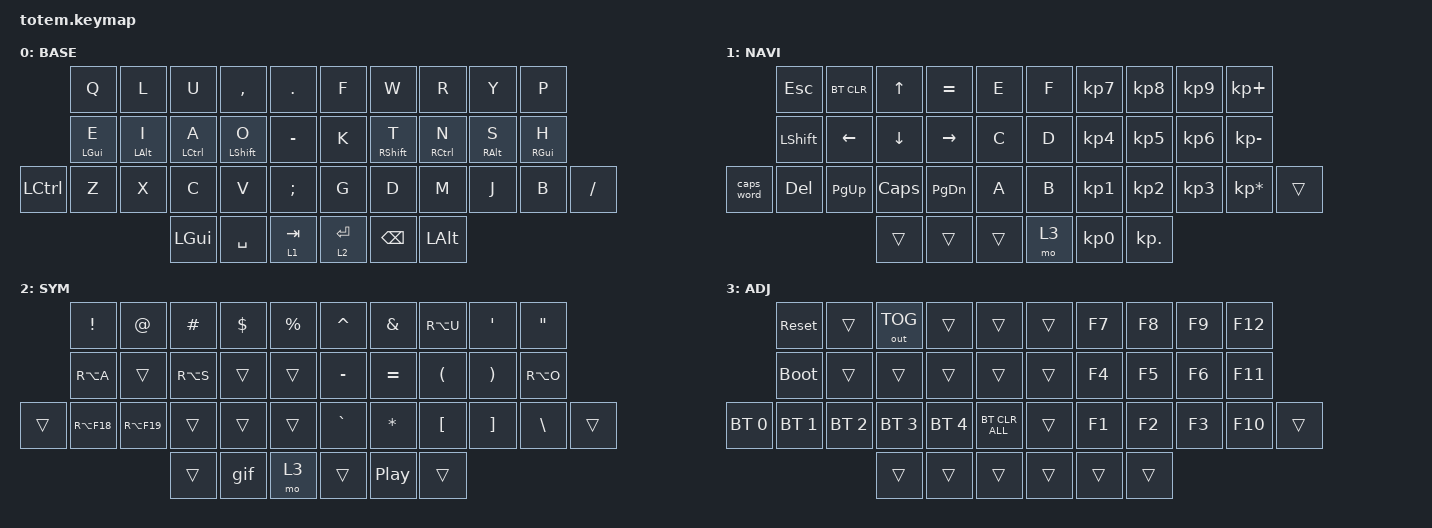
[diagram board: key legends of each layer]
//
//                                                        ▀▀▀▀▀     ▀▀▀▀▀          ▀▀█▀▀
//                                                        ▄▀▀▀▄  ▄  ▄▀▀▀▄  ▄  ▄▀▀▀▄  █  ▄▀▀▀▄
//                                                        █   █  █  █   █  █  █   █  █  █   █
//                                                         ▀▀▀   █   ▀▀▀   █   ▀▀▀   ▀   ▀▀▀
//                                                               █      ▄▄▄█▄▄▄    █   █  
//                                                               ▀      █  █  █     █▄█
//                                                             ▀▀▀▀▀    █  █  █      ▀
//                                                                      ▀  ▀  ▀
//
// ▄▄▄▄▄▄▄▄▄▄▄▄▄▄▄▄▄▄▄▄▄▄▄▄▄▄▄▄▄▄▄▄▄▄▄▄▄▄▄▄▄▄▄▄▄▄▄▄▄▄▄▄▄▄▄▄▄▄▄▄▄▄▄▄▄▄▄▄▄▄▄▄▄▄▄▄▄▄▄▄▄▄▄▄▄▄▄▄▄▄▄▄▄▄▄▄▄▄▄▄▄▄▄▄▄▄▄▄▄▄▄▄▄▄▄▄▄▄▄▄▄▄▄▄▄▄▄▄▄▄▄▄▄▄▄▄▄▄▄▄▄▄▄▄▄▄▄▄▄

#include <behaviors.dtsi>
#include <dt-bindings/zmk/bt.h>
#include <dt-bindings/zmk/keys.h>
#include <dt-bindings/zmk/outputs.h>

#define BASE 0
#define NAV  1
#define SYM  2
#define ADJ  3

&mt {
    quick-tap-ms = <100>;
    global-quick-tap;
    flavor = "tap-preferred";
    tapping-term-ms = <170>;
};

/ {
    combos {
        compatible = "zmk,combos";

        combo_esc {
            timeout-ms = <50>;
            key-positions = <0 1>;
            bindings = <&kp ESC>;
        };

        LT_PAREN {
            bindings = <&kp LEFT_PARENTHESIS>;
            key-positions = <13 12>;
        };

        LT_BRACE {
            bindings = <&kp LEFT_BRACE>;
            key-positions = <2 3>;
        };

        LT_BRACKET {
            bindings = <&kp LEFT_BRACKET>;
            key-positions = <23 24>;
        };

        RT_PAREN {
            bindings = <&kp RIGHT_PARENTHESIS>;
            key-positions = <16 17>;
        };

        RT_BRACE {
            bindings = <&kp RIGHT_BRACE>;
            key-positions = <6 7>;
        };

        RT_BRACKET {
            bindings = <&kp RIGHT_BRACKET>;
            key-positions = <27 28>;
        };
    };

    macros {
        gif: gif {
            label = "giphy";
            compatible = "zmk,behavior-macro";
            #binding-cells = <0>;
            bindings =
                <&macro_press>,
                <&kp LSHFT>,
                <&macro_tap>,
                <&kp N2>,
                <&macro_release>,
                <&kp LSHFT>,
                <&macro_tap>,
                <&kp G &kp I &kp F>;
        };
    };

    keymap {
        compatible = "zmk,keymap";

        // ▄▄▄▄▄▄▄▄▄▄▄▄▄▄▄▄▄▄▄▄▄▄▄▄▄▄▄▄▄▄▄▄▄▄▄▄▄▄▄▄▄▄▄▄▄▄▄▄▄▄▄▄▄▄▄▄▄▄▄▄▄▄▄▄▄▄▄▄▄▄▄▄▄▄▄▄▄▄▄▄▄▄▄▄▄▄▄▄▄▄▄▄▄▄▄▄▄▄▄▄▄▄▄▄▄▄▄▄▄▄▄▄▄▄▄▄▄▄▄▄▄▄▄▄▄▄▄▄▄▄▄▄▄▄▄▄▄▄▄▄▄▄▄▄▄▄▄▄▄

        base_layer {
            // ┏━━━━━━━━━━━━━━━━━━━━━━━━━━━━━━━━━━━━━━━┓

            label = "BASE";

            // ┗━━━━━━━━━━━━━━━━━━━━━━━━━━━━━━━━━━━━━━━┛
            //             ┏━━━━━━━━━━━┳━━━━━━━━━━━┳━━━━━━━━━━━┳━━━━━━━━━━━┳━━━━━━━━━━━┓   ┏━━━━━━━━━━━┳━━━━━━━━━━━┳━━━━━━━━━━━┳━━━━━━━━━━━┳━━━━━━━━━━━┓
            //             ┃     Q     ┃     W     ┃     F     ┃     P     ┃     G     ┃   ┃     J     ┃     L     ┃     U     ┃     Y     ┃     ;     ┃
            //             ┣━━━━━━━━━━━╋━━━━━━━━━━━╋━━━━━━━━━━━╋━━━━━━━━━━━╋━━━━━━━━━━━┫   ┣━━━━━━━━━━━╋━━━━━━━━━━━╋━━━━━━━━━━━╋━━━━━━━━━━━╋━━━━━━━━━━━┫
            //             ┃     A     ┃     R     ┃     S     ┃     T     ┃     D     ┃   ┃     H     ┃     N     ┃     E     ┃     I     ┃     O     ┃
            // ┏━━━━━━━━━━━╋━━━━━━━━━━━╋━━━━━━━━━━━╋━━━━━━━━━━━╋━━━━━━━━━━━╋━━━━━━━━━━━┫   ┣━━━━━━━━━━━╋━━━━━━━━━━━╋━━━━━━━━━━━╋━━━━━━━━━━━╋━━━━━━━━━━━╋━━━━━━━━━━━┓
            // ┃           ┃     Z     ┃     X     ┃     C     ┃     V     ┃     B     ┃   ┃     K     ┃     M     ┃     ,     ┃     .     ┃     /     ┃           ┃
            // ┗━━━━━━━━━━━┻━━━━━━━━━━━┻━━━━━━━━━━━╋━━━━━━━━━━━╋━━━━━━━━━━━╋━━━━━━━━━━━┫   ┣━━━━━━━━━━━╋━━━━━━━━━━━╋━━━━━━━━━━━╋━━━━━━━━━━━┻━━━━━━━━━━━┻━━━━━━━━━━━┛
            //                                     ┃           ┃    TAB    ┃    SPC    ┃   ┃   ENTER   ┃   BSPC    ┃           ┃
            //                                     ┗━━━━━━━━━━━┻━━━━━━━━━━━┻━━━━━━━━━━━┛   ┗━━━━━━━━━━━┻━━━━━━━━━━━┻━━━━━━━━━━━┛

            bindings = <
                  &kp Q       &kp L       &kp U         &kp COMMA    &kp PERIOD       &kp F      &kp W        &kp R         &kp Y       &kp P
                  &mt LGUI E  &mt LALT I  &mt LCTRL A   &mt LSHFT O  &kp MINUS        &kp K      &mt RSHFT T  &mt RCTRL N   &mt RALT S  &mt RGUI H
&kp LEFT_CONTROL  &kp Z       &kp X       &kp C         &kp V        &kp SEMICOLON    &kp G      &kp D        &kp M         &kp J       &kp B       &kp SLASH
                                          &kp LEFT_GUI  &kp SPACE    &lt 1 TAB        &lt 2 RET  &kp BSPC     &kp LEFT_ALT
            >;
        };

        // ▄▄▄▄▄▄▄▄▄▄▄▄▄▄▄▄▄▄▄▄▄▄▄▄▄▄▄▄▄▄▄▄▄▄▄▄▄▄▄▄▄▄▄▄▄▄▄▄▄▄▄▄▄▄▄▄▄▄▄▄▄▄▄▄▄▄▄▄▄▄▄▄▄▄▄▄▄▄▄▄▄▄▄▄▄▄▄▄▄▄▄▄▄▄▄▄▄▄▄▄▄▄▄▄▄▄▄▄▄▄▄▄▄▄▄▄▄▄▄▄▄▄▄▄▄▄▄▄▄▄▄▄▄▄▄▄▄▄▄▄▄▄▄▄▄▄▄▄▄

        nav_layer {
            // ┏━━━━━━━━━━━━━━━━━━━━━━━━━━━━━━━━━━━━━━━┓

            label = "NAVI";

            // ┗━━━━━━━━━━━━━━━━━━━━━━━━━━━━━━━━━━━━━━━┛
            //             ┏━━━━━━━━━━━┳━━━━━━━━━━━┳━━━━━━━━━━━┳━━━━━━━━━━━┳━━━━━━━━━━━┓   ┏━━━━━━━━━━━┳━━━━━━━━━━━┳━━━━━━━━━━━┳━━━━━━━━━━━┳━━━━━━━━━━━┓
            //             ┃           ┃           ┃     UP    ┃           ┃     {     ┃   ┃     }     ┃     7     ┃     8     ┃     9     ┃     +     ┃
            //             ┣━━━━━━━━━━━╋━━━━━━━━━━━╋━━━━━━━━━━━╋━━━━━━━━━━━╋━━━━━━━━━━━┫   ┣━━━━━━━━━━━╋━━━━━━━━━━━╋━━━━━━━━━━━╋━━━━━━━━━━━╋━━━━━━━━━━━┫
            //             ┃   SHIFT   ┃   LEFT    ┃    DOWN   ┃   RIGHT   ┃     [     ┃   ┃     ]     ┃     4     ┃     5     ┃     6     ┃     -     ┃
            // ┏━━━━━━━━━━━╋━━━━━━━━━━━╋━━━━━━━━━━━╋━━━━━━━━━━━╋━━━━━━━━━━━╋━━━━━━━━━━━┫   ┣━━━━━━━━━━━╋━━━━━━━━━━━╋━━━━━━━━━━━╋━━━━━━━━━━━╋━━━━━━━━━━━╋━━━━━━━━━━━┓
            // ┃           ┃           ┃   P UP    ┃  C LOCK   ┃  P DOWN   ┃     (     ┃   ┃     )     ┃     1     ┃     2     ┃     3     ┃     *     ┃           ┃
            // ┗━━━━━━━━━━━┻━━━━━━━━━━━┻━━━━━━━━━━━╋━━━━━━━━━━━╋━━━━━━━━━━━╋━━━━━━━━━━━┫   ┣━━━━━━━━━━━╋━━━━━━━━━━━╋━━━━━━━━━━━╋━━━━━━━━━━━┻━━━━━━━━━━━┻━━━━━━━━━━━┛
            //                                     ┃           ┃    TAB    ┃    SPC    ┃   ┃    DEL    ┃     0     ┃           ┃
            //                                     ┗━━━━━━━━━━━┻━━━━━━━━━━━┻━━━━━━━━━━━┛   ┗━━━━━━━━━━━┻━━━━━━━━━━━┻━━━━━━━━━━━┛

            bindings = <
            &kp ESC    &bt BT_CLR  &kp UP    &kp EQUAL  &kp E     &kp F  &kp KP_NUMBER_7  &kp KP_NUMBER_8  &kp KP_N9        &kp KP_PLUS
            &kp LSHFT  &kp LEFT    &kp DOWN  &kp RIGHT  &kp C     &kp D  &kp KP_NUMBER_4  &kp KP_NUMBER_5  &kp KP_NUMBER_6  &kp KP_MINUS
&caps_word  &kp DEL    &kp PG_UP   &kp CAPS  &kp PG_DN  &kp A     &kp B  &kp KP_N1        &kp KP_N2        &kp KP_NUMBER_3  &kp KP_MULTIPLY  &trans
                                   &trans    &trans     &trans    &mo 3  &kp KP_N0        &kp KP_DOT
            >;
        };

        // ▄▄▄▄▄▄▄▄▄▄▄▄▄▄▄▄▄▄▄▄▄▄▄▄▄▄▄▄▄▄▄▄▄▄▄▄▄▄▄▄▄▄▄▄▄▄▄▄▄▄▄▄▄▄▄▄▄▄▄▄▄▄▄▄▄▄▄▄▄▄▄▄▄▄▄▄▄▄▄▄▄▄▄▄▄▄▄▄▄▄▄▄▄▄▄▄▄▄▄▄▄▄▄▄▄▄▄▄▄▄▄▄▄▄▄▄▄▄▄▄▄▄▄▄▄▄▄▄▄▄▄▄▄▄▄▄▄▄▄▄▄▄▄▄▄▄▄▄▄

        sim_layer {
            // ┏━━━━━━━━━━━━━━━━━━━━━━━━━━━━━━━━━━━━━━━┓

            label = "SYM";

            // ┗━━━━━━━━━━━━━━━━━━━━━━━━━━━━━━━━━━━━━━━┛
            //             ┏━━━━━━━━━━━┳━━━━━━━━━━━┳━━━━━━━━━━━┳━━━━━━━━━━━┳━━━━━━━━━━━┓   ┏━━━━━━━━━━━┳━━━━━━━━━━━┳━━━━━━━━━━━┳━━━━━━━━━━━┳━━━━━━━━━━━┓
            //             ┃     !     ┃     @     ┃     #     ┃     $     ┃     %     ┃   ┃     ˆ     ┃     &     ┃     Ü     ┃     '     ┃     "     ┃
            //             ┣━━━━━━━━━━━╋━━━━━━━━━━━╋━━━━━━━━━━━╋━━━━━━━━━━━╋━━━━━━━━━━━┫   ┣━━━━━━━━━━━╋━━━━━━━━━━━╋━━━━━━━━━━━╋━━━━━━━━━━━╋━━━━━━━━━━━┫
            //             ┃     Ä     ┃           ┃    SZ     ┃           ┃           ┃   ┃   MUTE    ┃   YEN     ┃   EURO    ┃  POUND    ┃     Ö     ┃
            // ┏━━━━━━━━━━━╋━━━━━━━━━━━╋━━━━━━━━━━━╋━━━━━━━━━━━╋━━━━━━━━━━━╋━━━━━━━━━━━┫   ┣━━━━━━━━━━━╋━━━━━━━━━━━╋━━━━━━━━━━━╋━━━━━━━━━━━╋━━━━━━━━━━━╋━━━━━━━━━━━┓
            // ┃           ┃  EMAIL1   ┃  EMAIL2   ┃           ┃           ┃           ┃   ┃   VOL-    ┃   VOL+    ┃   LAST    ┃   NEXT    ┃     \     ┃           ┃
            // ┗━━━━━━━━━━━┻━━━━━━━━━━━┻━━━━━━━━━━━╋━━━━━━━━━━━╋━━━━━━━━━━━╋━━━━━━━━━━━┫   ┣━━━━━━━━━━━╋━━━━━━━━━━━╋━━━━━━━━━━━╋━━━━━━━━━━━┻━━━━━━━━━━━┻━━━━━━━━━━━┛
            //                                     ┃           ┃    GIF    ┃    ADJ    ┃   ┃           ┃           ┃           ┃
            //                                     ┗━━━━━━━━━━━┻━━━━━━━━━━━┻━━━━━━━━━━━┛   ┗━━━━━━━━━━━┻━━━━━━━━━━━┻━━━━━━━━━━━┛

            bindings = <
        &kp EXCL     &kp AT       &kp HASH   &kp DLLR  &kp PRCNT    &kp CARET  &kp AMPS      &kp RA(U)             &kp SQT                &kp DQT
        &kp RA(A)    &trans       &kp RA(S)  &trans    &trans       &kp MINUS  &kp EQUAL     &kp LEFT_PARENTHESIS  &kp RIGHT_PARENTHESIS  &kp RA(O)
&trans  &kp RA(F18)  &kp RA(F19)  &trans     &trans    &trans       &kp GRAVE  &kp ASTERISK  &kp LEFT_BRACKET      &kp RIGHT_BRACKET      &kp BSLH   &trans
                                  &trans     &gif      &mo 3        &trans     &kp C_PP      &trans
            >;
        };

        // ▄▄▄▄▄▄▄▄▄▄▄▄▄▄▄▄▄▄▄▄▄▄▄▄▄▄▄▄▄▄▄▄▄▄▄▄▄▄▄▄▄▄▄▄▄▄▄▄▄▄▄▄▄▄▄▄▄▄▄▄▄▄▄▄▄▄▄▄▄▄▄▄▄▄▄▄▄▄▄▄▄▄▄▄▄▄▄▄▄▄▄▄▄▄▄▄▄▄▄▄▄▄▄▄▄▄▄▄▄▄▄▄▄▄▄▄▄▄▄▄▄▄▄▄▄▄▄▄▄▄▄▄▄▄▄▄▄▄▄▄▄▄▄▄▄▄▄▄▄

        adjust_layer {
            // ┏━━━━━━━━━━━━━━━━━━━━━━━━━━━━━━━━━━━━━━━┓

            label = "ADJ";

            // ┗━━━━━━━━━━━━━━━━━━━━━━━━━━━━━━━━━━━━━━━┛
            //             ┏━━━━━━━━━━━┳━━━━━━━━━━━┳━━━━━━━━━━━┳━━━━━━━━━━━┳━━━━━━━━━━━┓   ┏━━━━━━━━━━━┳━━━━━━━━━━━┳━━━━━━━━━━━┳━━━━━━━━━━━┳━━━━━━━━━━━┓
            //             ┃   RESET   ┃ BT CLEAR  ┃  OUT TOG  ┃           ┃           ┃   ┃           ┃    F7     ┃    F8     ┃    F9     ┃    F12    ┃
            //             ┣━━━━━━━━━━━╋━━━━━━━━━━━╋━━━━━━━━━━━╋━━━━━━━━━━━╋━━━━━━━━━━━┫   ┣━━━━━━━━━━━╋━━━━━━━━━━━╋━━━━━━━━━━━╋━━━━━━━━━━━╋━━━━━━━━━━━┫
            //             ┃ BOOTLOAD  ┃ BT NEXT   ┃           ┃           ┃           ┃   ┃           ┃    F4     ┃    F5     ┃    F6     ┃    F11    ┃
            // ┏━━━━━━━━━━━╋━━━━━━━━━━━╋━━━━━━━━━━━╋━━━━━━━━━━━╋━━━━━━━━━━━╋━━━━━━━━━━━┫   ┣━━━━━━━━━━━╋━━━━━━━━━━━╋━━━━━━━━━━━╋━━━━━━━━━━━╋━━━━━━━━━━━╋━━━━━━━━━━━┓
            // ┃           ┃           ┃ BT PREV   ┃           ┃           ┃           ┃   ┃           ┃    F1     ┃    F2     ┃    F3     ┃    F10    ┃           ┃
            // ┗━━━━━━━━━━━┻━━━━━━━━━━━┻━━━━━━━━━━━╋━━━━━━━━━━━╋━━━━━━━━━━━╋━━━━━━━━━━━┫   ┣━━━━━━━━━━━╋━━━━━━━━━━━╋━━━━━━━━━━━╋━━━━━━━━━━━┻━━━━━━━━━━━┻━━━━━━━━━━━┛
            //                                     ┃           ┃           ┃           ┃   ┃           ┃           ┃           ┃
            //                                     ┗━━━━━━━━━━━┻━━━━━━━━━━━┻━━━━━━━━━━━┛   ┗━━━━━━━━━━━┻━━━━━━━━━━━┻━━━━━━━━━━━┛

            bindings = <
              &sys_reset    &trans        &out OUT_TOG  &trans        &trans            &trans  &kp F7  &kp F8  &kp F9  &kp F12
              &bootloader   &trans        &trans        &trans        &trans            &trans  &kp F4  &kp F5  &kp F6  &kp F11
&bt BT_SEL 0  &bt BT_SEL 1  &bt BT_SEL 2  &bt BT_SEL 3  &bt BT_SEL 4  &bt BT_CLR_ALL    &trans  &kp F1  &kp F2  &kp F3  &kp F10  &trans
                                          &trans        &trans        &trans            &trans  &trans  &trans
            >;
        };
    };
};
